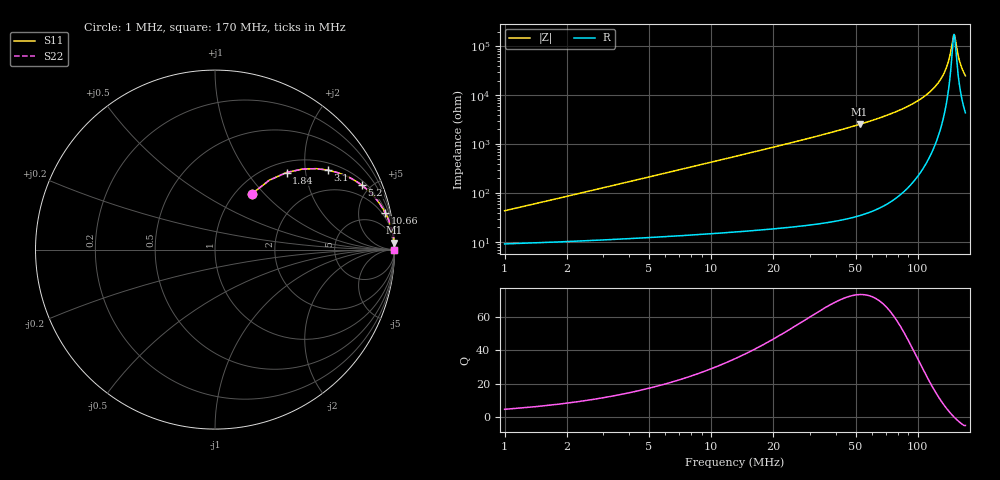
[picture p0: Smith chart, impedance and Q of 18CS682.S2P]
! Coilcraft 1812CS-682 Chip Inductor
! 31 July 2002
# MHZ S MA R 50
!Freq  MagS11  AngS11  MagS21  AngS21  MagS12  AngS12  MagS22  AngS22
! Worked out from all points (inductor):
!   404 points, 1 MHz to 170 MHz, reference 50 ohm
!   read as one part in series: L = 6.8 uH near 1.84 MHz
!   highest Q = 73.3 at 52.24 MHz (marker M1), where L = 7.74 uH
!   self-resonance near 149.7 MHz
!   S11 on the Smith chart (normalised r, x): 1 MHz: 1.18, +0.85; 1.84 MHz: 1.20, +1.57; 3.1 MHz: 1.22, +2.65; 5.2 MHz: 1.25, +4.45; 10.66 MHz: 1.30, +9.16; 170 MHz: open
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1  0.3728 56.5  0.8529 -21.4  0.8529 -21.4  0.3728 56.5
1.84  0.5859 47.1  0.7391 -35.5  0.7391 -35.5  0.5859 47.1
3.1  0.7689 35.2  0.5782 -50.0  0.5782 -50.0  0.7689 35.2
5.2  0.8938 23.6  0.4012 -63.2  0.4012 -63.2  0.8938 23.6
7.3  0.9408 17.5  0.3006 -70.0  0.3006 -70.0  0.9408 17.5
10.66  0.9703 12.2  0.2119 -75.9  0.2119 -75.9  0.9703 12.2
18.64  0.9898 7.0  0.1223 -81.7  0.1223 -81.7  0.9898 7.0
29.56  0.9959 4.3  0.07577 -84.7  0.07577 -84.7  0.9959 4.3
52.24  0.9987 2.3  0.0393 -87.0  0.0393 -87.0  0.9987 2.3
57.7  0.9989 2.0  0.03451 -87.2  0.03451 -87.2  0.9989 2.0
85.84  0.9995 1.0  0.01831 -87.8  0.01831 -87.8  0.9995 1.0
113.98  0.9996 0.5  0.008658 -86.8  0.008658 -86.8  0.9996 0.5
131.2  0.9995 0.2  0.00419 -83.3  0.00419 -83.3  0.9995 0.2
137.5  0.9995 0.2  0.002738 -79.2  0.002738 -79.2  0.9995 0.2
142.12  0.9995 0.1  0.00174 -72.2  0.00174 -72.2  0.9995 0.1
148.42  0.9994 0.0  0.0006405 -28.3  0.0006405 -28.3  0.9994 0.0
150.1  0.9994 -0.0  0.0005755 4.7  0.0005755 4.7  0.9994 -0.0
151.36  0.9994 -0.0  0.0006574 27.9  0.0006574 27.9  0.9994 -0.0
155.98  0.9994 -0.1  0.001386 63.9  0.001386 63.9  0.9994 -0.1
158.92  0.9994 -0.1  0.001933 71.0  0.001933 71.0  0.9994 -0.1
163.96  0.9993 -0.2  0.002881 76.6  0.002881 76.6  0.9993 -0.2
170  0.9993 -0.2  0.004 79.7  0.004 79.7  0.9993 -0.2
